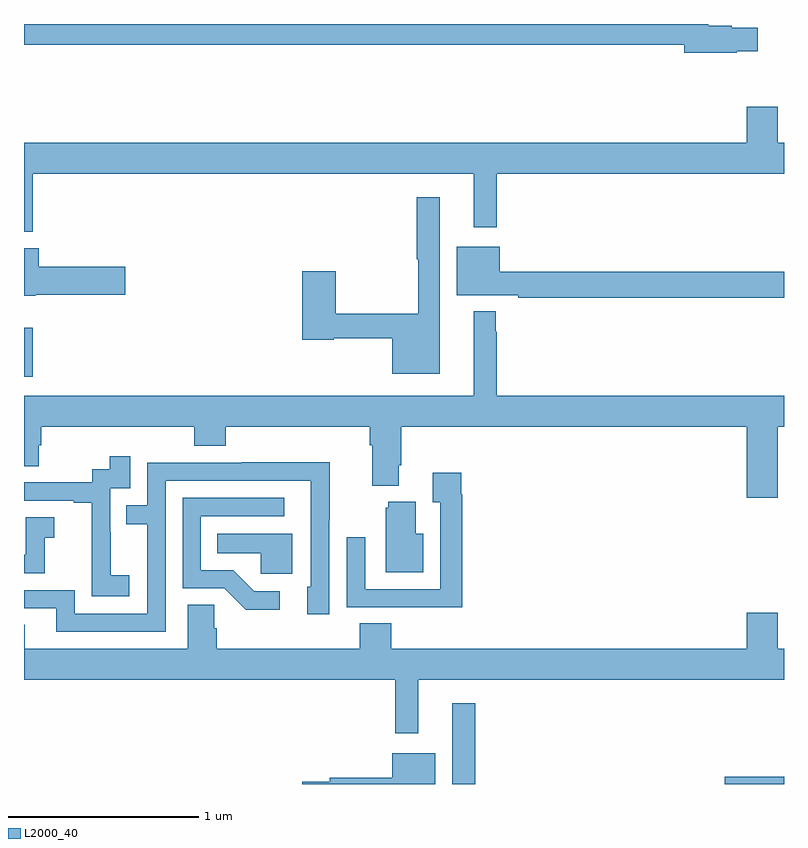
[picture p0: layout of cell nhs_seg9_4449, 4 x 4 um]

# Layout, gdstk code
import gdstk
lib = gdstk.Library(unit=1e-6, precision=1e-09)
def R(c, l, rs):  # rectangles x0, y0, x1, y1
    for r in rs: c.add(gdstk.rectangle(r[:2], r[2:], *l))
def P(c, l, *ps):  # polygons
    for p in ps: c.add(gdstk.Polygon(p, *l))
L2000_40 = (2000, 40)

nhs_seg9_4449 = lib.new_cell('nhs_seg9_4449')
R(nhs_seg9_4449, L2000_40, [(367.253,1234.5,367.375,1234.924), (368.688,1234.5,369,1234.538), (365,1236.644,365.047,1236.901)])
P(nhs_seg9_4449, L2000_40, [(368.75,1238.357),(368.863,1238.357),(368.863,1238.479),(368.724,1238.479),(368.724,1238.492),(368.602,1238.492),(368.602,1238.5),(365,1238.5),(365,1238.392),(368.474,1238.392),(368.474,1238.35),(368.75,1238.35)],
  [(365.045,1237.712),(367.367,1237.712),(367.367,1237.431),(367.489,1237.431),(367.489,1237.712),(369,1237.712),(369,1237.876),(368.968,1237.876),(368.968,1238.065),(368.804,1238.065),(368.804,1237.876),(365,1237.876),(365,1237.406),(365.045,1237.406)],
  [(367.189,1237.588),(367.068,1237.588),(367.068,1237.263),(367.075,1237.263),(367.075,1236.974),(366.642,1236.974),(366.642,1237.198),(366.464,1237.198),(366.464,1236.838),(366.63,1236.838),(366.63,1236.846),(366.938,1236.846),(366.938,1236.659),(367.189,1236.659)],
  [(369,1237.196),(367.504,1237.196),(367.504,1237.327),(367.277,1237.327),(367.277,1237.073),(367.6,1237.073),(367.6,1237.06),(369,1237.06)],
  [(365.061,1237.076),(365.533,1237.076),(365.533,1237.223),(365.078,1237.223),(365.078,1237.321),(365,1237.321),(365,1237.07),(365.061,1237.07)],
  [(368.968,1236.38),(369,1236.38),(369,1236.544),(367.489,1236.544),(367.489,1236.881),(367.482,1236.881),(367.482,1236.988),(367.367,1236.988),(367.367,1236.544),(365,1236.544),(365,1236.172),(365.077,1236.172),(365.077,1236.282),(365.09,1236.282),(365.09,1236.38),(365.897,1236.38),(365.897,1236.281),(366.062,1236.281),(366.062,1236.38),(366.821,1236.38),(366.821,1236.284),(366.833,1236.284),(366.833,1236.071),(366.973,1236.071),(366.973,1236.178),(366.986,1236.178),(366.986,1236.38),(368.804,1236.38),(368.804,1236.006),(368.968,1236.006)],
  [(365.554,1235.599),(365.456,1235.599),(365.456,1235.828),(365.454,1235.828),(365.454,1236.057),(365.559,1236.057),(365.559,1236.226),(365.451,1236.226),(365.451,1236.156),(365.358,1236.156),(365.358,1236.087),(365,1236.087),(365,1235.991),(365.261,1235.991),(365.261,1235.979),(365.357,1235.979),(365.357,1235.695),(365.356,1235.695),(365.356,1235.489),(365.554,1235.489)],
  [(365.745,1236.096),(366.509,1236.096),(366.509,1235.86),(366.51,1235.86),(366.51,1235.538),(366.491,1235.538),(366.491,1235.394),(366.606,1235.394),(366.606,1235.887),(366.609,1235.887),(366.609,1236.194),(366.145,1236.194),(366.145,1236.192),(365.649,1236.192),(365.649,1235.967),(365.539,1235.967),(365.539,1235.866),(365.649,1235.866),(365.649,1235.397),(365.268,1235.397),(365.268,1235.52),(365,1235.52),(365,1235.424),(365.171,1235.424),(365.171,1235.301),(365.745,1235.301)],
  [(367.307,1236.026),(367.3,1236.026),(367.3,1236.139),(367.151,1236.139),(367.151,1235.983),(367.191,1235.983),(367.191,1235.526),(366.795,1235.526),(366.795,1235.8),(366.699,1235.8),(366.699,1235.43),(367.015,1235.43),(367.015,1235.429),(367.307,1235.429)],
  [(366.346,1235.514),(366.211,1235.514),(366.1,1235.625),(365.931,1235.625),(365.931,1235.91),(366.37,1235.91),(366.37,1236.006),(365.835,1236.006),(365.835,1235.529),(366.054,1235.529),(366.167,1235.417),(366.346,1235.417)],
  [(367.102,1235.818),(367.063,1235.818),(367.063,1235.986),(366.917,1235.986),(366.917,1235.955),(366.905,1235.955),(366.905,1235.615),(367.102,1235.615)],
  [(365.109,1235.795),(365.158,1235.795),(365.158,1235.905),(365.01,1235.905),(365.01,1235.706),(365,1235.706),(365,1235.61),(365.109,1235.61)],
  [(366.412,1235.818),(366.016,1235.818),(366.016,1235.714),(366.247,1235.714),(366.247,1235.606),(366.412,1235.606)],
  [(367.075,1235.048),(369,1235.048),(369,1235.212),(368.968,1235.212),(368.968,1235.401),(368.804,1235.401),(368.804,1235.212),(366.932,1235.212),(366.932,1235.345),(366.767,1235.345),(366.767,1235.212),(366.014,1235.212),(366.014,1235.321),(366,1235.321),(366,1235.444),(365.861,1235.444),(365.861,1235.212),(365.005,1235.212),(365.005,1235.339),(365,1235.339),(365,1235.048),(366.954,1235.048),(366.954,1234.767),(367.075,1234.767)],
  [(367.165,1234.663),(366.938,1234.663),(366.938,1234.532),(366.61,1234.532),(366.61,1234.512),(366.464,1234.512),(366.464,1234.5),(367.165,1234.5)])

lib.write_gds('nhs_seg9_4449.gds')
